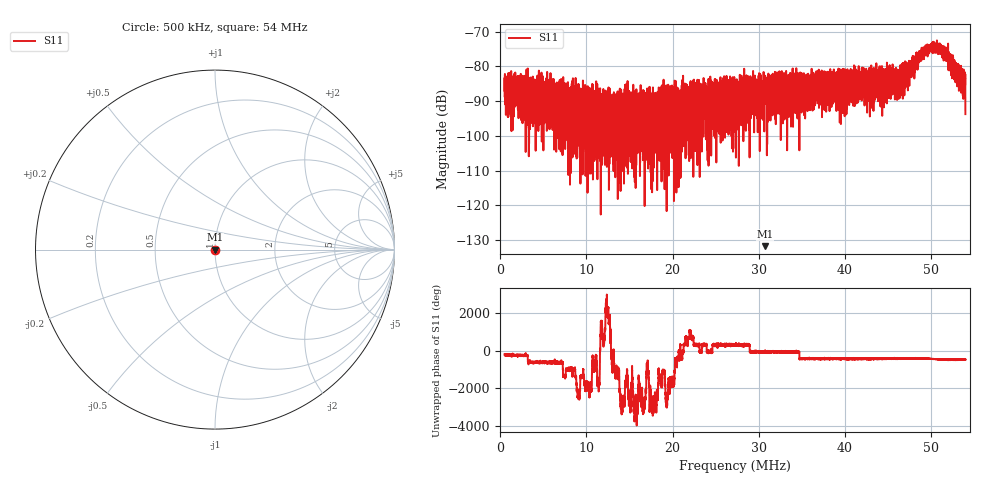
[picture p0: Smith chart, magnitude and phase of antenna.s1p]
! Calibrated high-resolution NanoVNA antenna measurement
# Hz S RI R 50
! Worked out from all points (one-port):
!   40001 points, 500 kHz to 54 MHz, reference 50 ohm
!   lowest |S11| = -131.7 dB at 30.74 MHz (marker M1), VSWR 1.00, Z = 50 - j2.58e-05 ohm
!   |S11| at or under -10 dB: start of sweep to end of sweep
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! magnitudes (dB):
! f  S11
! 500 kHz  -88.6
! 7.188 MHz  -120.9
! 13.88 MHz  -89.2
! 20.56 MHz  -102.0
! 27.25 MHz  -99.4
! 30.74 MHz  -131.7
! 33.94 MHz  -86.4
! 40.62 MHz  -82.0
! 46.33 MHz  -81.9
! 47.31 MHz  -80.9
! 47.58 MHz  -77.2
! 47.95 MHz  -78.6
! 48.3 MHz  -78.3
! 48.61 MHz  -77.9
! 48.88 MHz  -77.6
! 49.24 MHz  -76.3
! 49.65 MHz  -74.5
! 50.08 MHz  -74.5
! 50.48 MHz  -73.5
! 50.9 MHz  -74.2
! 51.22 MHz  -74.6
! 51.51 MHz  -75.8
! 51.82 MHz  -76.1
! 52.38 MHz  -80.3
! 52.65 MHz  -80.4
! 52.84 MHz  -80.0
! 53.08 MHz  -81.8
! 54 MHz  -83.7
